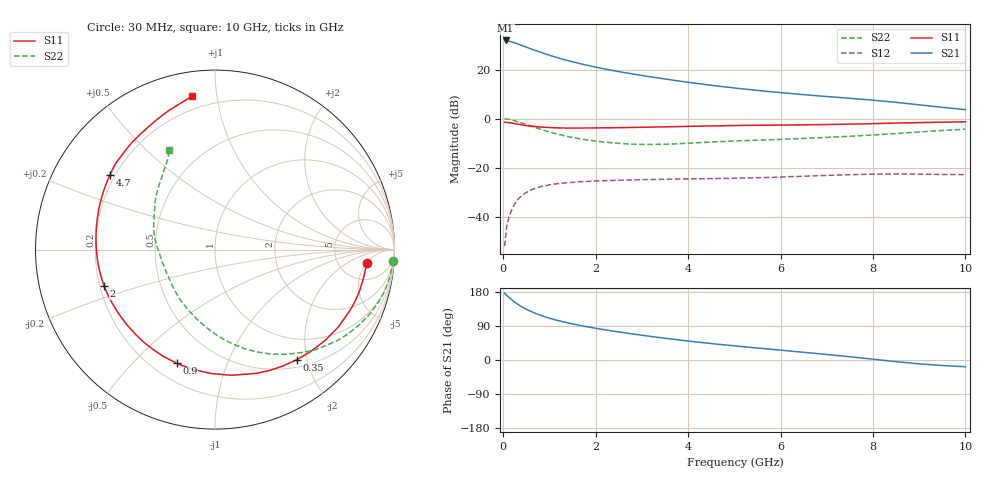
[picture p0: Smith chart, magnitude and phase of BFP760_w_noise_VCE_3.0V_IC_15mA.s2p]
! Infineon Technologies  Discrete & RF Semiconductors
! BFP760
! VCE =  3.0 V,  IC =  15 mA
! Common Emitter S-Parameters:  Nov 2012
# GHz  S  MA  R  50
!  f  S11  S21  S12  S22
! GHz  MAG  ANG  MAG  ANG  MAG  ANG  MAG  ANG
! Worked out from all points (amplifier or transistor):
!   99 points, 30 MHz to 10 GHz, reference 50 ohm
!   highest |S21| = 32.0 dB at 50 MHz (marker M1)
!   |S21| within 3 dB of that: start of sweep to 539.2 MHz
!   unconditionally stable (mu >= 1): 5.035 GHz to end of sweep
!   at 350 MHz: K = 0.17, MSG = 31.3 dB, |S12| = -32.3 dB
!   at 3.5 GHz: K = 0.79, MSG = 20.5 dB, |S12| = -24.7 dB
!   at 10 GHz: K = 1.12, MAG = 11.1 dB, |S12| = -22.8 dB
!   lowest NFmin = 0.56 dB at 900 MHz
!   S11 on the Smith chart (normalised r, x): 30 MHz: 9, -5; 350 MHz: 0.62, -1.83; 900 MHz: 0.30, -0.68; 2 GHz: 0.22, -0.15; 4.7 GHz: 0.18, +0.31; 10 GHz: 0.13, +0.85
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0.03  0.8487 -5.1  39.3 176.2  0.0025 79.4  0.993 -3.6
0.05  0.8442 -8.4  39.65 173.4  0.0038 80.5  0.9891 -5.8
0.13  0.8296 -21.4  38.14 164.5  0.0103 78.3  0.9677 -15.1
0.2  0.8107 -32.3  36.51 157.4  0.0149 73.1  0.9343 -22.6
0.25  0.795 -39.6  35.34 152.7  0.0183 69.6  0.9057 -27.6
0.35  0.7645 -53.3  32.63 144.4  0.0243 63.1  0.8481 -36.8
0.45  0.7387 -65.7  30.14 137.2  0.0292 57.5  0.79 -44.9
0.6  0.7064 -82.4  26.74 128.1  0.035 50.6  0.7062 -55.7
0.7  0.6907 -91.9  24.7 122.9  0.0381 46.9  0.6575 -62.2
0.9  0.6687 -108.6  21.27 114.1  0.0429 40.2  0.5729 -73.8
1  0.6609 -115.7  19.81 110.3  0.0446 37.7  0.5372 -79.0
1.2  0.6507 -128.1  17.34 103.6  0.0474 33.5  0.4785 -88.5
1.4  0.6456 -138.4  15.36 97.9  0.0495 30.4  0.4332 -97.1
1.7  0.6452 -151.2  13.07 90.4  0.0519 26.7  0.3828 -109.0
2  0.6506 -161.7  11.35 83.8  0.0536 23.8  0.3503 -120.4
2.6  0.6598 -178.5  8.826 72.3  0.0558 20.2  0.3099 -140.5
3.4  0.6798 164.2  6.685 58.9  0.0579 17.2  0.3005 -164.8
4.7  0.7182 144.6  4.581 41.0  0.0604 15.2  0.3412 169.1
5.1  0.7284 140.6  4.15 36.2  0.0614 15.0  0.3543 164.0
6.7  0.756 127.4  2.997 18.1  0.068 13.8  0.4037 146.6
8.5  0.8147 108.8  2.159 -4.4  0.0745 6.5  0.4981 126.8
10  0.865 98.7  1.532 -17.7  0.0725 3.6  0.6108 114.9
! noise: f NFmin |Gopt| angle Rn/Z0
0.9  0.56  0.13  32  0.08
1.8  0.6  0.06  78  0.08
2.4  0.66  0.07  133  0.08
3.5  0.78  0.08  168  0.08
5.5  1.01  0.26  -130  0.08
8  1.36  0.39  -91  0.26
